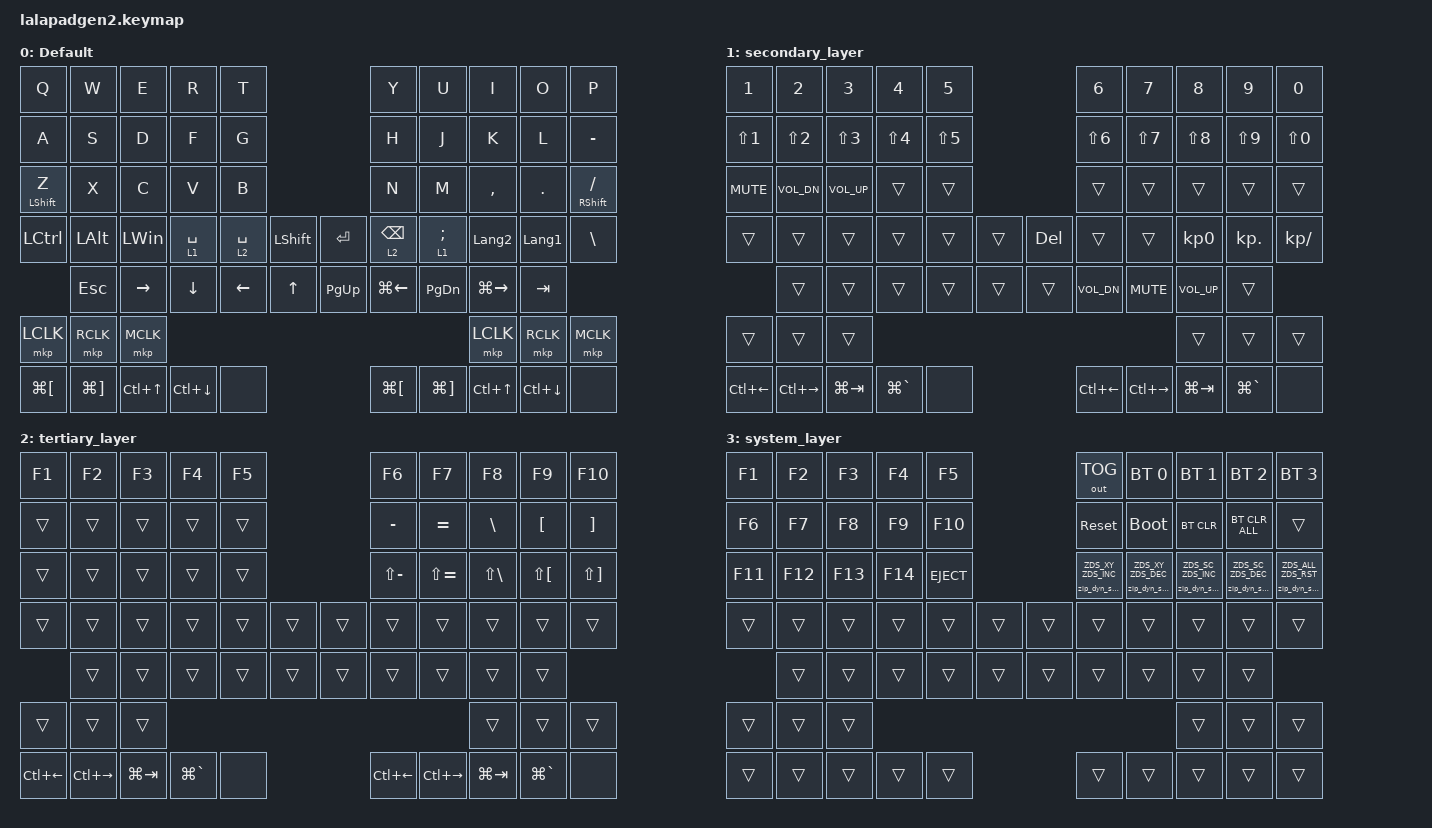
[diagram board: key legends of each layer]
#include <input/processors.dtsi>
#include <dt-bindings/zmk/zip_dynamic_scale.h>
#include <behaviors.dtsi>
#include <dt-bindings/zmk/bt.h>
#include <dt-bindings/zmk/keys.h>
#include <dt-bindings/zmk/outputs.h>
#include <dt-bindings/zmk/pointing.h>

#define DEFAULT_LAYER   0
#define SECONDARY_LAYER 1
#define TERTIARY_LAYER  2
#define SYSTEM_LAYER    3

&mt { quick-tap-ms = <200>; };

&lt { quick-tap-ms = <200>; };

/ {
    behaviors {
        zip_dyn_scale: zip_dyn_scale {
            compatible = "zmk,behavior-zip-dynamic-scale";
            #binding-cells = <2>;
        };

        zip_dyn_scale_set: zip_dyn_scale_set {
            compatible = "zmk,behavior-zip-dynamic-scale-set";
            #binding-cells = <2>;
        };

        mt2: mod_tap2 {
            compatible = "zmk,behavior-hold-tap";
            #binding-cells = <2>;
            flavor = "tap-preferred";
            tapping-term-ms = <200>;
            quick-tap-ms = <200>;
            require-prior-idle-ms = <125>;
            bindings = <&kp>, <&kp>;
        };

        tap_dance_layer_1and2: tap_dance_layer_1and2 {
            compatible = "zmk,behavior-tap-dance";
            label = "td_mo12";
            #binding-cells = <0>;
            bindings = <&mo 1>, <&mo 2>;
        };
    };

    combos {
        compatible = "zmk,combos";

        combo_jk_lclk {
            timeout-ms = <30>;
            key-positions = <16 17>;
            bindings = <&mkp LCLK>;
            layers = <DEFAULT_LAYER>;
        };

        combo_kl_rclk {
            timeout-ms = <30>;
            key-positions = <17 18>;
            bindings = <&mkp RCLK>;
            layers = <DEFAULT_LAYER>;
        };

        combo_jl_mclk {
            timeout-ms = <30>;
            key-positions = <16 18>;
            bindings = <&mkp MCLK>;
            layers = <DEFAULT_LAYER>;
        };
    };

    keymap {
        compatible = "zmk,keymap";

        DEFAULT_LAYER {
            display-name = "Default";
            bindings = <
&kp Q              &kp W      &kp E         &kp R      &kp T                                     &kp Y      &kp U     &kp I           &kp O           &kp P
&kp A              &kp S      &kp D         &kp F      &kp G                                     &kp H      &kp J     &kp K           &kp L           &kp MINUS
&mt2 LEFT_SHIFT Z  &kp X      &kp C         &kp V      &kp B                                     &kp N      &kp M     &kp COMMA       &kp PERIOD      &mt2 RIGHT_SHIFT SLASH
&kp LCTRL          &kp LEFT_ALT  &kp LWIN   &lt 1 SPACE  &lt 2 SPACE  &kp LEFT_SHIFT  &kp ENTER      &lt 2 BACKSPACE  &lt 1 SEMI  &kp LANGUAGE_2  &kp LANGUAGE_1  &kp BACKSLASH
                   &kp ESCAPE &kp RIGHT     &kp DOWN   &kp LEFT   &kp UP          &kp PAGE_UP    &kp LG(LEFT)  &kp PAGE_DOWN  &kp LG(RIGHT)  &kp TAB
&mkp LCLK          &mkp RCLK  &mkp MCLK                                                                               &mkp LCLK       &mkp RCLK       &mkp MCLK
&kp LG(LEFT_BRACKET)  &kp LG(RIGHT_BRACKET)  &kp LC(UP)  &kp LC(DOWN)  &none                     &kp LG(LEFT_BRACKET)  &kp LG(RIGHT_BRACKET)  &kp LC(UP)  &kp LC(DOWN)  &none
            >;
        };

        SECONDARY_LAYER {
            display-name = "secondary_layer";
            bindings = <
&kp N1            &kp N2             &kp N3        &kp N4        &kp N5                    &kp N6            &kp N7             &kp N8            &kp N9            &kp N0
&kp LS(N1)        &kp LS(N2)         &kp LS(N3)    &kp LS(N4)    &kp LS(N5)                &kp LS(N6)        &kp LS(N7)         &kp LS(N8)        &kp LS(N9)        &kp LS(N0)
&kp C_MUTE        &kp C_VOL_DN       &kp C_VOL_UP  &trans        &trans                    &trans            &trans             &trans           &trans           &trans
&trans            &trans             &trans        &trans        &trans   &trans  &kp DEL  &trans            &trans             &kp KP_NUMBER_0  &kp KP_DOT       &kp KP_DIVIDE
                  &trans             &trans        &trans        &trans   &trans  &trans  &kp C_VOL_DN  &kp C_MUTE  &kp C_VOL_UP  &trans
&trans            &trans             &trans                                                                                     &trans           &trans           &trans
&kp LC(LEFT)      &kp LC(RIGHT)      &kp LG(TAB)   &kp LG(GRAVE)  &none                    &kp LC(LEFT)      &kp LC(RIGHT)      &kp LG(TAB)      &kp LG(GRAVE)  &none
            >;
        };

        TERTIARY_LAYER {
            display-name = "tertiary_layer";
            bindings = <
&kp F1           &kp F2        &kp F3        &kp F4               &kp F5                                 &kp F6        &kp F7             &kp F8             &kp F9                 &kp F10
&trans           &trans        &trans        &trans               &trans                                 &kp MINUS     &kp EQUAL          &kp BACKSLASH      &kp LEFT_BRACKET       &kp RIGHT_BRACKET
&trans           &trans        &trans        &trans               &trans                                 &kp LS(MINUS) &kp LS(EQUAL)      &kp LS(BACKSLASH)  &kp LS(LEFT_BRACKET)   &kp LS(RIGHT_BRACKET)
&trans           &trans         &trans        &trans                &trans                 &trans  &trans  &trans         &trans    &trans          &trans     &trans
                 &trans         &trans        &trans                &trans                 &trans  &trans  &trans         &trans    &trans          &trans
&trans           &trans         &trans                                                                                              &trans          &trans     &trans
&kp LC(LEFT)     &kp LC(RIGHT)  &kp LG(TAB)   &kp LG(GRAVE)        &none                                  &kp LC(LEFT)   &kp LC(RIGHT)  &kp LG(TAB)  &kp LG(GRAVE)  &none
            >;
        };

        SYSTEM_LAYER {
            display-name = "system_layer";
            bindings = <
&kp F1   &kp F2   &kp F3   &kp F4   &kp F5                   &out OUT_TOG                   &bt BT_SEL 0                   &bt BT_SEL 1                   &bt BT_SEL 2                   &bt BT_SEL 3
&kp F6   &kp F7   &kp F8   &kp F9   &kp F10                  &sys_reset                     &bootloader                    &bt BT_CLR                     &bt BT_CLR_ALL                 &trans
&kp F11  &kp F12  &kp F13  &kp F14  &kp K_EJECT              &zip_dyn_scale ZDS_XY ZDS_INC  &zip_dyn_scale ZDS_XY ZDS_DEC  &zip_dyn_scale ZDS_SC ZDS_INC  &zip_dyn_scale ZDS_SC ZDS_DEC  &zip_dyn_scale ZDS_ALL ZDS_RST
&trans   &trans   &trans   &trans   &trans   &trans  &trans  &trans                         &trans                         &trans                         &trans                         &trans
         &trans   &trans   &trans   &trans   &trans  &trans  &trans                         &trans                         &trans                         &trans
&trans   &trans   &trans                                                                                                   &trans                         &trans                         &trans
&trans   &trans   &trans   &trans   &trans                   &trans                         &trans                         &trans                         &trans                         &trans
            >;
        };
    };

    conditional_layers {
        compatible = "zmk,conditional-layers";

        Cond_Syslayer {
            if-layers = <1 2>;
            then-layer = <3>;
        };
    };
};
